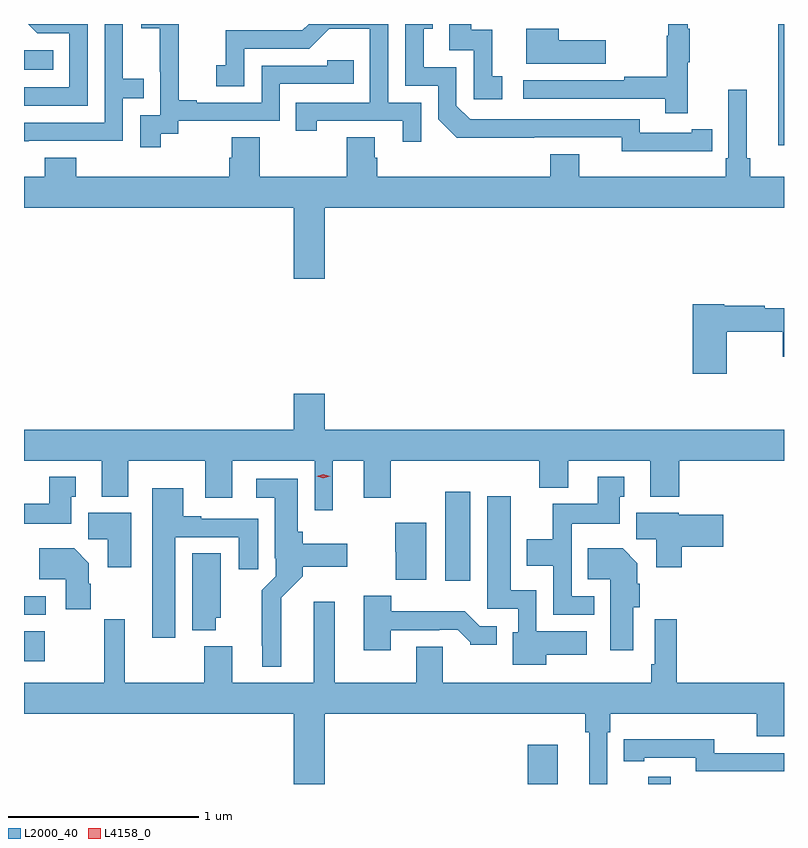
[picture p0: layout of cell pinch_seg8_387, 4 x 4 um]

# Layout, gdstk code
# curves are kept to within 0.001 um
import gdstk
lib = gdstk.Library(unit=1e-6, precision=1e-09)
def R(c, l, rs):  # rectangles x0, y0, x1, y1
    for r in rs: c.add(gdstk.rectangle(r[:2], r[2:], *l))
def P(c, l, *ps):  # polygons
    for p in ps: c.add(gdstk.Polygon(p, *l))
L2000_40 = (2000, 40)
L4158_0 = (4158, 0)

pinch_seg8_387 = lib.new_cell('pinch_seg8_387')
R(pinch_seg8_387, L2000_40, [(585.818,1089.491,585.976,1089.697), (586.454,1089.491,586.571,1089.529), (583.168,1090.136,583.276,1090.294), (583.168,1090.383,583.282,1090.479), (585.386,1090.56,585.517,1091.029), (587.138,1092.852,587.168,1093.491), (583.168,1093.25,583.322,1093.354)])
P(pinch_seg8_387, L2000_40, [(586.682,1092.822),(586.79,1092.822),(586.79,1092.938),(586.682,1092.938),(586.682,1092.918),(586.41,1092.918),(586.41,1092.99),(585.516,1092.99),(585.444,1093.062),(585.444,1093.263),(585.271,1093.263),(585.271,1093.467),(585.32,1093.467),(585.32,1093.491),(585.174,1093.491),(585.174,1093.167),(585.348,1093.167),(585.348,1092.99),(585.446,1092.893),(586.314,1092.894),(586.314,1092.821)],
  [(585.685,1093.215),(585.632,1093.215),(585.632,1093.462),(585.521,1093.462),(585.521,1093.491),(585.405,1093.491),(585.405,1093.353),(585.534,1093.353),(585.534,1093.095),(585.685,1093.095)],
  [(583.193,1092.876),(583.689,1092.876),(583.689,1093.101),(583.799,1093.101),(583.799,1093.202),(583.689,1093.202),(583.689,1093.491),(583.593,1093.491),(583.593,1092.972),(583.168,1092.972),(583.168,1092.875),(583.193,1092.875)],
  [(585.258,1093.077),(585.084,1093.077),(585.084,1093.491),(584.666,1093.491),(584.633,1093.458),(584.23,1093.458),(584.23,1093.273),(584.181,1093.273),(584.181,1093.164),(584.328,1093.164),(584.328,1093.362),(584.67,1093.362),(584.774,1093.466),(584.988,1093.466),(584.988,1093.077),(584.599,1093.077),(584.599,1092.93),(584.71,1092.93),(584.71,1092.981),(585.161,1092.981),(585.161,1092.87),(585.258,1092.87)],
  [(583.888,1092.913),(583.98,1092.913),(583.98,1092.981),(584.514,1092.981),(584.514,1093.176),(584.903,1093.176),(584.903,1093.299),(584.763,1093.299),(584.763,1093.272),(584.418,1093.272),(584.418,1093.077),(584.077,1093.077),(584.077,1093.09),(583.982,1093.09),(583.982,1093.373),(583.983,1093.373),(583.983,1093.491),(583.785,1093.491),(583.785,1093.469),(583.883,1093.469),(583.883,1093.241),(583.884,1093.241),(583.884,1093.011),(583.779,1093.011),(583.779,1092.843),(583.888,1092.843)],
  [(586.661,1093.291),(586.672,1093.291),(586.672,1093.465),(586.661,1093.465),(586.661,1093.491),(586.558,1093.491),(586.558,1093.428),(586.551,1093.428),(586.551,1093.214),(586.327,1093.214),(586.327,1093.194),(585.795,1093.194),(585.795,1093.098),(586.543,1093.098),(586.543,1093.02),(586.661,1093.02)],
  [(583.503,1093.491),(583.19,1093.491),(583.238,1093.443),(583.407,1093.443),(583.407,1093.158),(583.168,1093.158),(583.168,1093.062),(583.503,1093.062)],
  [(586.231,1093.405),(585.983,1093.405),(585.983,1093.465),(585.812,1093.465),(585.812,1093.283),(586.231,1093.283)],
  [(587.168,1092.688),(586.991,1092.688),(586.991,1092.784),(586.972,1092.784),(586.972,1093.144),(586.875,1093.144),(586.875,1092.784),(586.862,1092.784),(586.862,1092.688),(586.09,1092.688),(586.09,1092.805),(585.938,1092.805),(585.938,1092.688),(585.026,1092.688),(585.026,1092.786),(585.013,1092.786),(585.013,1092.896),(584.866,1092.896),(584.866,1092.688),(584.409,1092.688),(584.409,1092.896),(584.261,1092.896),(584.261,1092.786),(584.249,1092.786),(584.249,1092.688),(583.442,1092.688),(583.442,1092.787),(583.277,1092.787),(583.277,1092.688),(583.168,1092.688),(583.168,1092.524),(584.588,1092.524),(584.588,1092.15),(584.752,1092.15),(584.752,1092.524),(587.168,1092.524)],
  [(586.866,1091.872),(587.162,1091.872),(587.162,1091.741),(587.168,1091.741),(587.168,1091.995),(587.066,1091.995),(587.066,1092.008),(586.854,1092.008),(586.854,1092.016),(586.688,1092.016),(586.688,1091.649),(586.866,1091.649)],
  [(584.794,1091.192),(584.957,1091.192),(584.957,1090.998),(585.097,1090.998),(585.097,1091.192),(585.881,1091.192),(585.881,1091.051),(586.033,1091.051),(586.033,1091.192),(586.463,1091.192),(586.463,1091.003),(586.616,1091.003),(586.616,1091.192),(587.168,1091.192),(587.168,1091.356),(584.752,1091.356),(584.752,1091.545),(584.588,1091.545),(584.588,1091.356),(583.168,1091.356),(583.168,1091.192),(583.577,1091.192),(583.577,1091.003),(583.717,1091.003),(583.717,1091.192),(584.123,1091.192),(584.123,1090.998),(584.263,1090.998),(584.263,1091.192),(584.697,1091.192),(584.697,1090.932),(584.794,1090.932)],
  [(586.168,1090.479),(586.05,1090.479),(586.05,1090.862),(586.303,1090.862),(586.303,1091.004),(586.327,1091.004),(586.327,1091.107),(586.187,1091.107),(586.187,1090.966),(585.952,1090.966),(585.952,1090.78),(585.815,1090.78),(585.815,1090.64),(585.954,1090.64),(585.954,1090.383),(586.168,1090.383)],
  [(583.417,1091.004),(583.441,1091.004),(583.441,1091.107),(583.301,1091.107),(583.301,1090.966),(583.168,1090.966),(583.168,1090.862),(583.417,1090.862)],
  [(584.521,1090.472),(584.634,1090.585),(584.634,1090.634),(584.869,1090.634),(584.869,1090.756),(584.634,1090.756),(584.634,1090.818),(584.608,1090.818),(584.608,1091.098),(584.391,1091.098),(584.391,1090.997),(584.489,1090.997),(584.489,1090.678),(584.493,1090.678),(584.493,1090.584),(584.419,1090.51),(584.419,1090.219),(584.423,1090.219),(584.423,1090.109),(584.521,1090.109)],
  [(583.963,1090.791),(584.297,1090.791),(584.297,1090.62),(584.401,1090.62),(584.401,1090.887),(584.101,1090.887),(584.101,1090.9),(584.005,1090.9),(584.005,1091.047),(583.844,1091.047),(583.844,1090.26),(583.963,1090.26)],
  [(585.917,1090.172),(586.129,1090.172),(586.129,1090.294),(585.864,1090.294),(585.864,1090.51),(585.73,1090.51),(585.73,1091.005),(585.605,1091.005),(585.605,1090.413),(585.768,1090.413),(585.768,1090.29),(585.74,1090.29),(585.74,1090.118),(585.917,1090.118)],
  [(586.631,1090.739),(586.849,1090.739),(586.849,1090.909),(586.614,1090.909),(586.614,1090.918),(586.391,1090.918),(586.391,1090.78),(586.496,1090.78),(586.496,1090.632),(586.631,1090.632)],
  [(583.732,1090.918),(583.505,1090.918),(583.505,1090.78),(583.61,1090.78),(583.61,1090.632),(583.732,1090.632)],
  [(585.286,1090.867),(585.122,1090.867),(585.122,1090.713),(585.124,1090.713),(585.124,1090.565),(585.286,1090.565)],
  [(586.375,1090.422),(586.409,1090.422),(586.409,1090.544),(586.396,1090.544),(586.396,1090.654),(586.318,1090.732),(586.135,1090.732),(586.135,1090.568),(586.253,1090.568),(586.253,1090.194),(586.375,1090.194)],
  [(583.518,1090.544),(583.51,1090.544),(583.51,1090.654),(583.432,1090.732),(583.249,1090.732),(583.249,1090.568),(583.388,1090.568),(583.388,1090.41),(583.518,1090.41)],
  [(584.176,1090.365),(584.203,1090.365),(584.203,1090.706),(584.054,1090.706),(584.054,1090.301),(584.176,1090.301)],
  [(585.097,1090.299),(585.353,1090.299),(585.353,1090.302),(585.452,1090.302),(585.516,1090.238),(585.516,1090.223),(585.655,1090.223),(585.655,1090.32),(585.567,1090.32),(585.489,1090.399),(585.1,1090.399),(585.1,1090.483),(584.957,1090.483),(584.957,1090.194),(585.097,1090.194)],
  [(584.752,1089.86),(586.123,1089.86),(586.123,1089.764),(586.142,1089.764),(586.142,1089.491),(586.239,1089.491),(586.239,1089.764),(586.253,1089.764),(586.253,1089.86),(587.024,1089.86),(587.024,1089.743),(587.168,1089.743),(587.168,1090.024),(586.604,1090.024),(586.604,1090.357),(586.488,1090.357),(586.488,1090.12),(586.468,1090.12),(586.468,1090.024),(585.373,1090.024),(585.373,1090.214),(585.233,1090.214),(585.233,1090.024),(584.803,1090.024),(584.803,1090.45),(584.693,1090.45),(584.693,1090.024),(584.263,1090.024),(584.263,1090.216),(584.116,1090.216),(584.116,1090.024),(583.699,1090.024),(583.699,1090.357),(583.59,1090.357),(583.59,1090.024),(583.168,1090.024),(583.168,1089.86),(584.588,1089.86),(584.588,1089.491),(584.752,1089.491)],
  [(587.168,1089.654),(586.8,1089.654),(586.8,1089.727),(586.432,1089.727),(586.432,1089.726),(586.324,1089.726),(586.324,1089.61),(586.432,1089.61),(586.432,1089.63),(586.704,1089.63),(586.704,1089.558),(587.168,1089.558)])
P(pinch_seg8_387, L4158_0, [(584.744,1091.101),(584.709,1091.11),(584.709,1091.111),(584.709,1091.111),(584.744,1091.121),(584.779,1091.111),(584.779,1091.111),(584.779,1091.11)])

lib.write_gds('pinch_seg8_387.gds')
